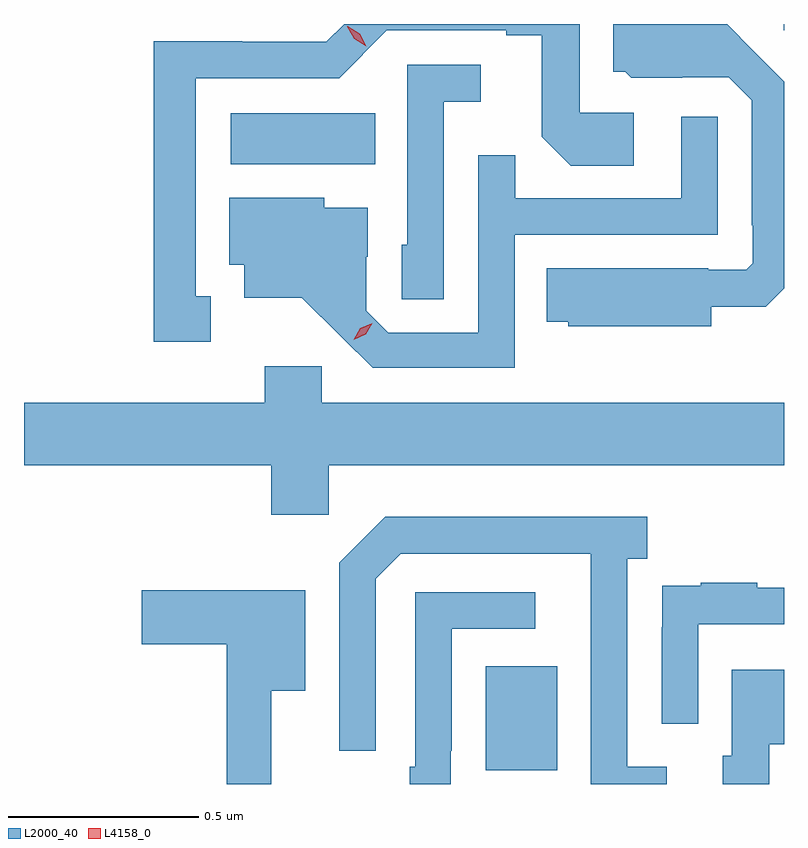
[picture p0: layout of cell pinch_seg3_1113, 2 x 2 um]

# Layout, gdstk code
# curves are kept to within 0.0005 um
import gdstk
lib = gdstk.Library(unit=1e-6, precision=1e-09)
def R(c, l, rs):  # rectangles x0, y0, x1, y1
    for r in rs: c.add(gdstk.rectangle(r[:2], r[2:], *l))
def P(c, l, *ps):  # polygons
    for p in ps: c.add(gdstk.Polygon(p, *l))
L2000_40 = (2000, 40)
L4158_0 = (4158, 0)

pinch_seg3_1113 = lib.new_cell('pinch_seg3_1113')
R(pinch_seg3_1113, L2000_40, [(318.533,681.465,318.721,681.739), (317.862,683.06,318.242,683.194), (319.317,683.412,319.318,683.429)])
P(pinch_seg3_1113, L2000_40, [(317.809,682.713),(317.77,682.713),(317.77,683.286),(318.147,683.286),(318.273,683.412),(318.587,683.412),(318.587,683.4),(318.681,683.4),(318.681,683.132),(318.757,683.056),(318.922,683.056),(318.922,683.196),(318.78,683.196),(318.78,683.429),(318.161,683.429),(318.114,683.382),(317.892,683.382),(317.892,683.384),(317.659,683.384),(317.659,682.593),(317.809,682.593)],
  [(319.126,682.685),(319.27,682.685),(319.318,682.733),(319.318,683.277),(319.168,683.429),(318.869,683.429),(318.869,683.304),(318.9,683.304),(318.916,683.288),(319.05,683.288),(319.05,683.289),(319.173,683.289),(319.233,683.229),(319.233,682.9),(319.236,682.9),(319.236,682.8),(319.218,682.782),(319.118,682.782),(319.118,682.786),(318.694,682.786),(318.694,682.646),(318.75,682.646),(318.75,682.634),(319.126,682.634)],
  [(318.423,683.225),(318.52,683.225),(318.52,683.322),(318.327,683.322),(318.327,682.848),(318.312,682.848),(318.312,682.705),(318.423,682.705)],
  [(318.609,682.875),(319.143,682.875),(319.143,683.185),(319.047,683.185),(319.047,682.971),(318.611,682.971),(318.611,683.084),(318.513,683.084),(318.513,682.617),(318.276,682.617),(318.219,682.674),(318.219,682.816),(318.223,682.816),(318.223,682.945),(318.108,682.945),(318.108,682.972),(317.858,682.972),(317.858,682.796),(317.897,682.796),(317.897,682.709),(318.049,682.709),(318.236,682.524),(318.609,682.524)],
  [(318.12,682.268),(319.318,682.268),(319.318,682.432),(318.102,682.432),(318.102,682.528),(317.951,682.528),(317.951,682.432),(317.318,682.432),(317.318,682.268),(317.969,682.268),(317.969,682.137),(318.12,682.137)],
  [(319.009,681.474),(318.906,681.474),(318.906,682.022),(318.958,682.022),(318.958,682.132),(318.268,682.132),(318.147,682.011),(318.147,681.516),(318.243,681.516),(318.243,681.969),(318.309,682.035),(318.809,682.035),(318.809,681.835),(318.81,681.835),(318.81,681.429),(319.009,681.429)],
  [(319.092,681.849),(319.318,681.849),(319.318,681.945),(319.247,681.945),(319.247,681.958),(319.099,681.958),(319.099,681.951),(318.997,681.951),(318.997,681.842),(318.996,681.842),(318.996,681.588),(319.092,681.588)],
  [(317.969,681.674),(318.058,681.674),(318.058,681.939),(317.628,681.939),(317.628,681.797),(317.851,681.797),(317.851,681.429),(317.969,681.429)],
  [(318.441,681.517),(318.444,681.517),(318.444,681.837),(318.664,681.837),(318.664,681.933),(318.348,681.933),(318.348,681.475),(318.333,681.475),(318.333,681.429),(318.441,681.429)],
  [(319.279,681.533),(319.318,681.533),(319.318,681.73),(319.181,681.73),(319.181,681.504),(319.157,681.504),(319.157,681.429),(319.279,681.429)])
P(pinch_seg3_1113, L4158_0, [(318.218,683.371),(318.187,683.39),(318.169,683.422),(318.169,683.423),(318.17,683.423),(318.201,683.404),(318.219,683.371),(318.219,683.371)],
  [(318.186,682.598),(318.186,682.598),(318.203,682.628),(318.234,682.642),(318.234,682.642),(318.234,682.642),(318.217,682.613),(318.186,682.598)])

lib.write_gds('pinch_seg3_1113.gds')
